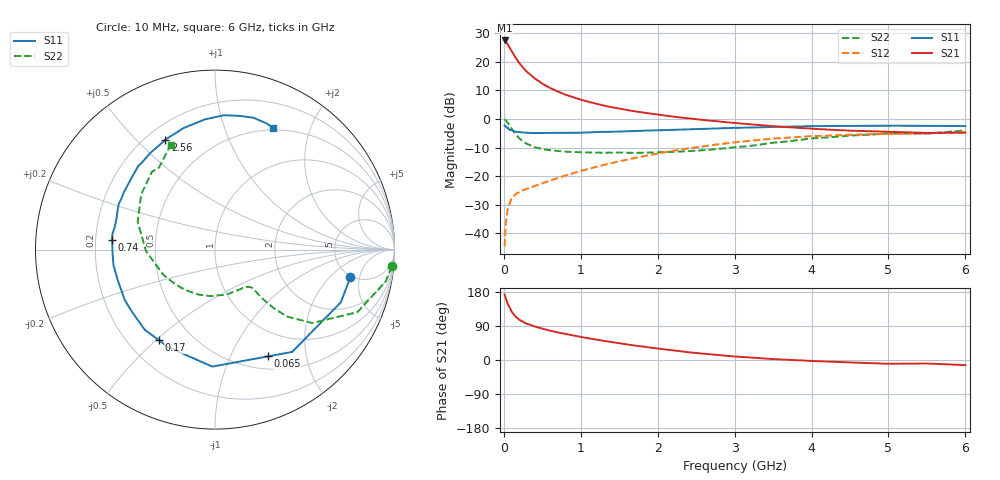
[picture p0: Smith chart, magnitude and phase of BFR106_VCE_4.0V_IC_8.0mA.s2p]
! Infineon Technologies  Discrete & RF Semiconductors
! BFR106
! VCE =  4.0 V,  IC =  8.0 mA
! Common Emitter S-Parameters:  Nov 2015
# GHz  S  MA  R  50
!  f  S11  S21  S12  S22
! GHz  MAG  ANG  MAG  ANG  MAG  ANG  MAG  ANG
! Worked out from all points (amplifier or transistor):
!   210 points, 10 MHz to 6 GHz, reference 50 ohm
!   highest |S21| = 27.5 dB at 10 MHz (marker M1)
!   |S21| within 3 dB of that: start of sweep to 85.42 MHz
!   unconditionally stable (mu >= 1): 538.6 MHz to 2.023 GHz; 5.107 GHz to end of sweep
!   at 185 MHz: K = 0.50, MSG = 23.0 dB, |S12| = -25.8 dB
!   at 1.52 GHz: K = 1.08, MAG = 7.4 dB, |S12| = -14.7 dB
!   at 6 GHz: K = 1.02, MAG = -0.9 dB, |S12| = -4.6 dB
!   S11 on the Smith chart (normalised r, x): 10 MHz: 4.82, -3.66; 65 MHz: 0.66, -1.40; 170 MHz: 0.33, -0.51; 740 MHz: 0.27, +0.04; 2.56 GHz: 0.27, +0.61; 6 GHz: 0.47, +1.48
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0.01  0.7697 -11.6  23.83 172.3  0.0059 88.7  0.9885 -5.4
0.02  0.7602 -22.7  23.19 166.2  0.0116 79.8  0.9681 -10.5
0.05  0.714 -53.0  20.49 147.9  0.026 65.9  0.8665 -23.7
0.065  0.6645 -63.5  18.84 142.9  0.0301 60.3  0.8059 -27.1
0.1  0.6521 -91.3  15.72 127.6  0.0405 51.8  0.6783 -37.1
0.15  0.6028 -115.6  11.98 114.3  0.0478 45.7  0.5443 -43.1
0.17  0.5939 -121.8  11.01 111.5  0.0497 45.0  0.5107 -43.7
0.2  0.5939 -131.2  9.622 106.3  0.0526 44.0  0.4604 -44.9
0.24  0.5796 -140.4  8.232 101.4  0.0557 44.2  0.4125 -45.5
0.3  0.576 -150.8  6.696 95.5  0.0597 44.9  0.3668 -46.0
0.4  0.5679 -162.8  5.153 88.5  0.0669 47.8  0.3211 -45.7
0.5  0.5722 -171.2  4.161 82.5  0.0747 50.8  0.2959 -45.9
0.6  0.5717 -178.1  3.508 77.4  0.0833 53.7  0.2837 -47.1
0.74  0.5752 174.5  2.892 71.2  0.0963 56.5  0.2723 -50.0
1.02  0.5765 161.8  2.145 60.1  0.1249 60.1  0.2619 -57.6
1.4  0.5996 148.0  1.609 47.4  0.1688 61.4  0.258 -71.8
2.02  0.6339 129.5  1.185 29.7  0.2511 57.6  0.2605 -101.1
2.56  0.6705 114.4  0.972 17.3  0.3282 51.0  0.282 -130.2
3.1  0.7035 102.4  0.83 8.0  0.4021 42.2  0.3275 -159.7
4.1  0.751 84.9  0.664 -3.3  0.5058 24.4  0.4655 156.5
5.1  0.7635 72.5  0.591 -9.8  0.5524 8.9  0.5568 128.1
6  0.7519 64.4  0.577 -13.5  0.5906 -2.0  0.6332 113.0
